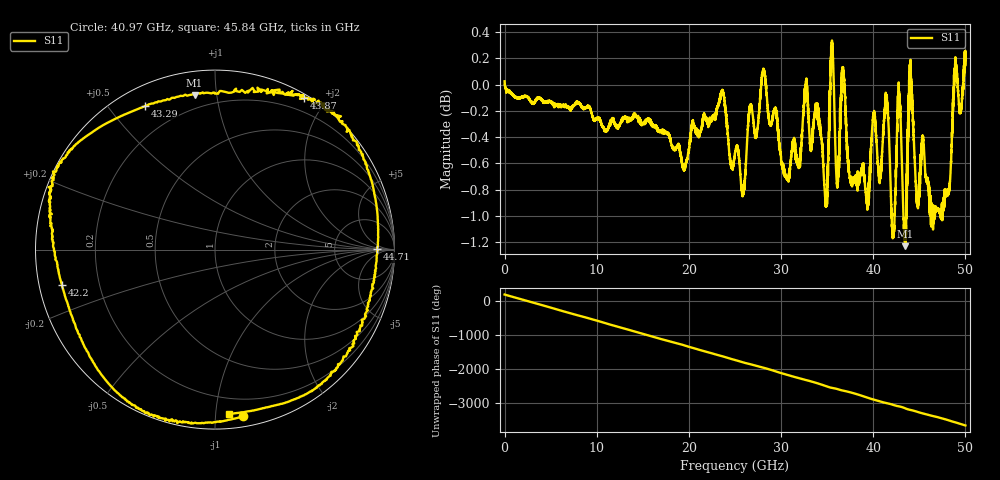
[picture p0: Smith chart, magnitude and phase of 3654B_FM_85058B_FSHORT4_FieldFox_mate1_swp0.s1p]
!Created with skrf (http://scikit-rf.org).
# Hz S RI R 50.0
!freq ReS11 ImS11
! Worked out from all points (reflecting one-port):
!   10000 points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, 5.3 MHz to 50 GHz, reference 50 ohm
!   lowest |S11| = -1.2 dB at 43.46 GHz (marker M1), VSWR 14.13, Z = 6.23 + j43.4 ohm
!   phase of S11 starts at 180 deg and turns -3824 deg over the sweep
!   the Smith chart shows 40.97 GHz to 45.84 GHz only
!   S11 on the Smith chart (normalised r, x): 40.97 GHz: 0.07, -1.18; 42.2 GHz: 0.07, -0.11; 43.29 GHz: 0.08, +0.62; 43.87 GHz: 0.04, +1.75; 44.71 GHz: 20, +1; 45.84 GHz: 0.09, -1.08
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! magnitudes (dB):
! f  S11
! 5.3 MHz  0.0
! 6.255 GHz  -0.2
! 12.51 GHz  -0.3
! 18.76 GHz  -0.5
! 23.6 GHz  -0.1
! 25.01 GHz  -0.5
! 25.9 GHz  -0.8
! 28.1 GHz  0.1
! 31.26 GHz  -0.5
! 32.71 GHz  0.0
! 34.86 GHz  -0.9
! 35.53 GHz  0.3
! 36.08 GHz  -0.8
! 36.73 GHz  0.1
! 37.51 GHz  -0.7
! 40.97 GHz  -0.5
! 41.48 GHz  -0.1
! 42.2 GHz  -1.1
! 42.8 GHz  -0.1
! 43.29 GHz  -1.0
! 43.46 GHz  -1.2
! 43.76 GHz  -0.4
! 43.87 GHz  -0.2
! 44.71 GHz  -0.9
! 45.84 GHz  -0.7
! 47.51 GHz  -1.0
! 48.89 GHz  0.1
! 50 GHz  0.2
